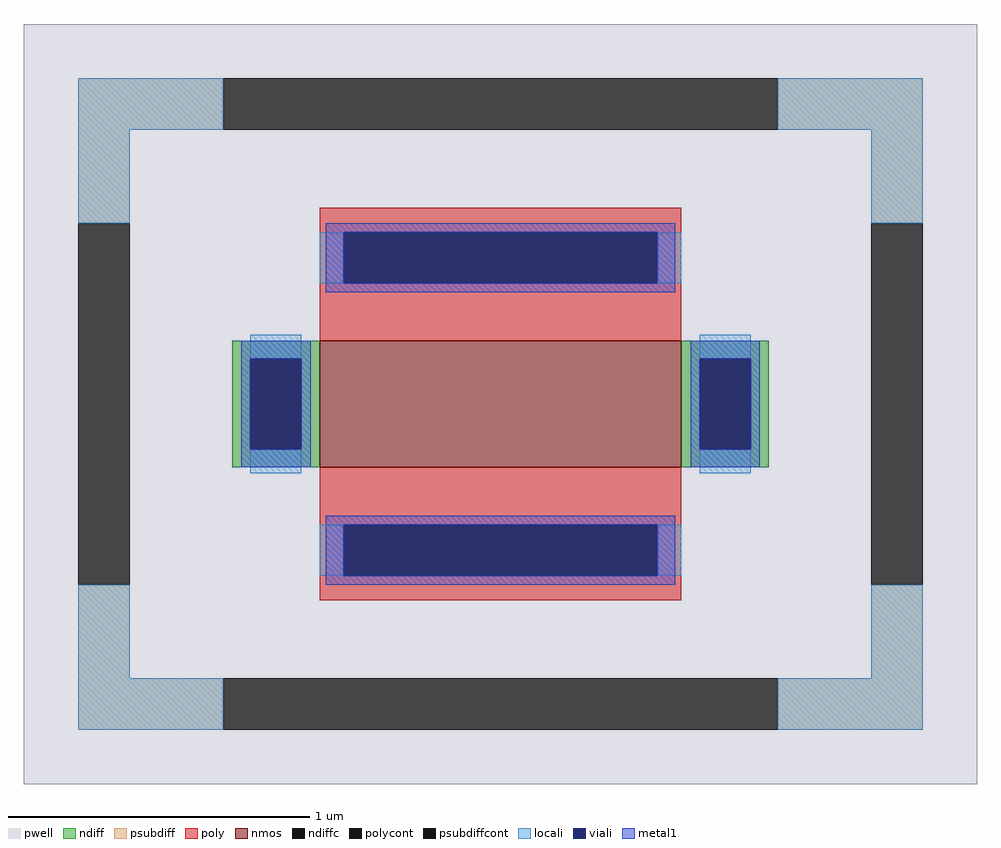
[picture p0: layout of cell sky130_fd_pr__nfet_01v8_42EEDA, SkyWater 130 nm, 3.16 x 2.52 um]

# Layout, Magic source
magic
tech sky130A
<< pwell >>
rect -158 -126 158 126
<< nmos >>
rect -60 -21 60 21
<< ndiff >>
rect -89 15 -60 21
rect -89 -15 -83 15
rect -66 -15 -60 15
rect -89 -21 -60 -15
rect 60 15 89 21
rect 60 -15 66 15
rect 83 -15 89 15
rect 60 -21 89 -15
<< ndiffc >>
rect -83 -15 -66 15
rect 66 -15 83 15
<< psubdiff >>
rect -140 91 -92 108
rect 92 91 140 108
rect -140 60 -123 91
rect 123 60 140 91
rect -140 -91 -123 -60
rect 123 -91 140 -60
rect -140 -108 -92 -91
rect 92 -108 140 -91
<< psubdiffcont >>
rect -92 91 92 108
rect -140 -60 -123 60
rect 123 -60 140 60
rect -92 -108 92 -91
<< poly >>
rect -60 57 60 65
rect -60 40 -52 57
rect 52 40 60 57
rect -60 21 60 40
rect -60 -40 60 -21
rect -60 -57 -52 -40
rect 52 -57 60 -40
rect -60 -65 60 -57
<< polycont >>
rect -52 40 52 57
rect -52 -57 52 -40
<< locali >>
rect -140 91 -92 108
rect 92 91 140 108
rect -140 60 -123 91
rect 123 60 140 91
rect -60 40 -52 57
rect 52 40 60 57
rect -83 15 -66 23
rect -83 -23 -66 -15
rect 66 15 83 23
rect 66 -23 83 -15
rect -60 -57 -52 -40
rect 52 -57 60 -40
rect -140 -91 -123 -60
rect 123 -91 140 -60
rect -140 -108 -92 -91
rect 92 -108 140 -91
<< viali >>
rect -52 40 52 57
rect -83 -15 -66 15
rect 66 -15 83 15
rect -52 -57 52 -40
<< metal1 >>
rect -58 57 58 60
rect -58 40 -52 57
rect 52 40 58 57
rect -58 37 58 40
rect -86 15 -63 21
rect -86 -15 -83 15
rect -66 -15 -63 15
rect -86 -21 -63 -15
rect 63 15 86 21
rect 63 -15 66 15
rect 83 -15 86 15
rect 63 -21 86 -15
rect -58 -40 58 -37
rect -58 -57 -52 -40
rect 52 -57 58 -40
rect -58 -60 58 -57
<< properties >>
string FIXED_BBOX -131 -99 131 99
string gencell sky130_fd_pr__nfet_01v8
string library sky130
string parameters w 0.42 l 1.2 m 1 nf 1 diffcov 100 polycov 100 guard 1 glc 1 grc 1 gtc 1 gbc 1 tbcov 100 rlcov 100 topc 1 botc 1 poverlap 0 doverlap 1 lmin 0.15 wmin 0.42 compatible {sky130_fd_pr__nfet_01v8 sky130_fd_pr__nfet_01v8_lvt  sky130_fd_bs_flash__special_sonosfet_star  sky130_fd_pr__nfet_g5v0d10v5 sky130_fd_pr__nfet_05v0_nvt  sky130_fd_pr__nfet_03v3_nvt} full_metal 1 viasrc 100 viadrn 100 viagate 100 viagb 0 viagr 0 viagl 0 viagt 0
<< end >>
